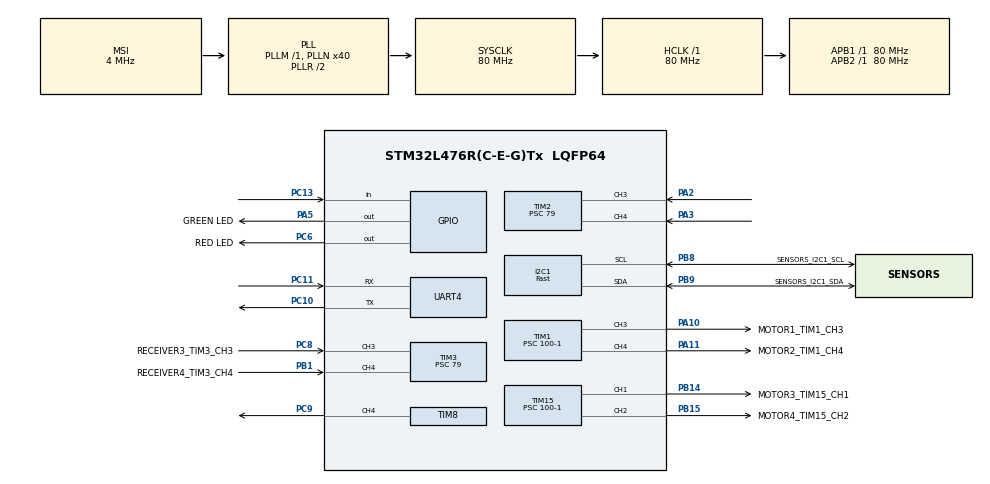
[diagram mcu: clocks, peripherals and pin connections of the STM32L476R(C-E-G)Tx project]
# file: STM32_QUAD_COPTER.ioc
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I2C1.I2C_Speed_Mode=I2C_Fast
I2C1.Timing=0x00702991
Mcu.Family=STM32L4
Mcu.Name=STM32L476R(C-E-G)Tx
Mcu.Package=LQFP64
NVIC.PriorityGroup=NVIC_PRIORITYGROUP_4
PA10.GPIO_Label=MOTOR1_TIM1_CH3
PA10.GPIO_Speed=GPIO_SPEED_FREQ_VERY_HIGH
PA10.Signal=S_TIM1_CH3
PA11.GPIO_Label=MOTOR2_TIM1_CH4
PA11.GPIO_Speed=GPIO_SPEED_FREQ_VERY_HIGH
PA11.Signal=S_TIM1_CH4
PA2.GPIO_PuPd=GPIO_PULLDOWN
PA2.GPIO_Speed=GPIO_SPEED_FREQ_VERY_HIGH
PA2.Signal=S_TIM2_CH3
PA3.GPIO_PuPd=GPIO_PULLDOWN
PA3.GPIO_Speed=GPIO_SPEED_FREQ_VERY_HIGH
PA3.Signal=S_TIM2_CH4
PA5.GPIO_Label=GREEN LED
PA5.Signal=GPIO_Output
PB1.GPIO_Label=RECEIVER4_TIM3_CH4
PB1.GPIO_PuPd=GPIO_PULLDOWN
PB1.GPIO_Speed=GPIO_SPEED_FREQ_VERY_HIGH
PB1.Signal=S_TIM3_CH4
PB14.GPIO_Label=MOTOR3_TIM15_CH1
PB14.GPIO_Speed=GPIO_SPEED_FREQ_VERY_HIGH
PB14.Signal=S_TIM15_CH1
PB15.GPIO_Label=MOTOR4_TIM15_CH2
PB15.GPIO_Speed=GPIO_SPEED_FREQ_VERY_HIGH
PB15.Signal=S_TIM15_CH2
PB8.GPIO_Label=SENSORS_I2C1_SCL
PB8.Mode=I2C
PB8.Signal=I2C1_SCL
PB9.GPIO_Label=SENSORS_I2C1_SDA
PB9.Mode=I2C
PB9.Signal=I2C1_SDA
PC10.Mode=Asynchronous
PC10.Signal=UART4_TX
PC11.Mode=Asynchronous
PC11.Signal=UART4_RX
PC13.Signal=GPIO_Input
PC14-OSC32_IN\ (PC14).Mode=LSE-External-Oscillator
PC14-OSC32_IN\ (PC14).Signal=RCC_OSC32_IN
PC15-OSC32_OUT\ (PC15).Mode=LSE-External-Oscillator
PC15-OSC32_OUT\ (PC15).Signal=RCC_OSC32_OUT
PC6.GPIO_Label=RED LED
PC6.Signal=GPIO_Output
PC8.GPIO_Label=RECEIVER3_TIM3_CH3
PC8.GPIO_PuPd=GPIO_PULLDOWN
PC8.GPIO_Speed=GPIO_SPEED_FREQ_VERY_HIGH
PC8.Signal=S_TIM3_CH3
PC9.GPIO_Speed=GPIO_SPEED_FREQ_VERY_HIGH
PC9.Signal=S_TIM8_CH4
ProjectManager.HeapSize=0x200
ProjectManager.StackSize=0x400
ProjectManager.TargetToolchain=STM32CubeIDE
RCC.AHBFreq_Value=80000000
RCC.APB1Freq_Value=80000000
RCC.APB1TimFreq_Value=80000000
RCC.APB2Freq_Value=80000000
RCC.APB2TimFreq_Value=80000000
RCC.CortexFreq_Value=80000000
RCC.HCLKFreq_Value=80000000
RCC.HSE_VALUE=8000000
RCC.HSI_VALUE=16000000
RCC.MSI_VALUE=4000000
RCC.PLLN=40
RCC.SYSCLKFreq_VALUE=80000000
RCC.SYSCLKSource=RCC_SYSCLKSOURCE_PLLCLK
RCC.VCOOutputFreq_Value=160000000
SH.S_TIM15_CH1.0=TIM15_CH1,PWM Generation1 CH1
SH.S_TIM15_CH2.0=TIM15_CH2,PWM Generation2 CH2
SH.S_TIM1_CH3.0=TIM1_CH3,PWM Generation3 CH3
SH.S_TIM1_CH4.0=TIM1_CH4,PWM Generation4 CH4
SH.S_TIM2_CH3.0=TIM2_CH3,Input_Capture3_from_TI3
SH.S_TIM2_CH4.0=TIM2_CH4,Input_Capture4_from_TI4
SH.S_TIM3_CH3.0=TIM3_CH3,Input_Capture3_from_TI3
SH.S_TIM3_CH4.0=TIM3_CH4,Input_Capture4_from_TI4
SH.S_TIM8_CH4.0=TIM8_CH4,PWM Generation4 CH4
TIM1.AutoReloadPreload=TIM_AUTORELOAD_PRELOAD_DISABLE
TIM1.Channel-PWM\ Generation3\ CH3=TIM_CHANNEL_3
TIM1.Channel-PWM\ Generation4\ CH4=TIM_CHANNEL_4
TIM1.Period=2000-1
TIM1.Prescaler=100-1
TIM1.Pulse-PWM\ Generation3\ CH3=1000
TIM1.Pulse-PWM\ Generation4\ CH4=1000
TIM15.AutoReloadPreload=TIM_AUTORELOAD_PRELOAD_DISABLE
TIM15.Channel-PWM\ Generation1\ CH1=TIM_CHANNEL_1
TIM15.Channel-PWM\ Generation2\ CH2=TIM_CHANNEL_2
TIM15.Period=2000-1
TIM15.Prescaler=100-1
TIM15.Pulse-PWM\ Generation1\ CH1=1000
TIM15.Pulse-PWM\ Generation2\ CH2=1000
TIM2.AutoReloadPreload=TIM_AUTORELOAD_PRELOAD_ENABLE
TIM2.Channel-Input_Capture3_from_TI3=TIM_CHANNEL_3
TIM2.Channel-Input_Capture4_from_TI4=TIM_CHANNEL_4
TIM2.ClockDivision=TIM_CLOCKDIVISION_DIV1
TIM2.Period=65535
TIM2.Prescaler=79
TIM3.AutoReloadPreload=TIM_AUTORELOAD_PRELOAD_ENABLE
TIM3.Channel-Input_Capture3_from_TI3=TIM_CHANNEL_3
TIM3.Channel-Input_Capture4_from_TI4=TIM_CHANNEL_4
TIM3.Prescaler=79
TIM8.AutoReloadPreload=TIM_AUTORELOAD_PRELOAD_DISABLE
TIM8.Channel-PWM\ Generation4\ CH4=TIM_CHANNEL_4
TIM8.Period=2000-1
TIM8.Prescaler=100-1
TIM8.Pulse-PWM\ Generation4\ CH4=1000
VP_TIM15_VS_ClockSourceINT.Mode=Internal
VP_TIM1_VS_ClockSourceINT.Mode=Internal
VP_TIM2_VS_ClockSourceINT.Mode=Internal
VP_TIM3_VS_ClockSourceINT.Mode=Internal
board=custom

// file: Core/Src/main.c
/* USER CODE BEGIN Header */
/**
 ******************************************************************************
 * @file           : main.c
 * @brief          : Main program body
 ******************************************************************************
 * @attention
 *
 * <h2><center>&copy; Copyright (c) 2021 STMicroelectronics.
 * All rights reserved.</center></h2>
 *
 * This software component is licensed by ST under BSD 3-Clause license,
 * the "License"; You may not use this file except in compliance with the
 * License. You may obtain a copy of the License at:
 *                        opensource.org/licenses/BSD-3-Clause
 *
 ******************************************************************************
 */
/* USER CODE END Header */
#include "main.h"

/* USER CODE BEGIN Includes */
#include "pid.h"
#include "motors.h"
#include <string.h>
#include "sensors.h"
#include <stdlib.h>
#include <math.h>
/* USER CODE END Includes */

/* USER CODE BEGIN PM */
void reset_variables(void);
void CalculateOutput(float thr);
/* USER CODE END PM */

I2C_HandleTypeDef hi2c1;

TIM_HandleTypeDef htim1;
TIM_HandleTypeDef htim2;
TIM_HandleTypeDef htim3;
TIM_HandleTypeDef htim8;
TIM_HandleTypeDef htim15;

UART_HandleTypeDef huart4;

/* USER CODE BEGIN PV */

RC_Data RadioData = { 0 };
RC_CAL RadioMeasureChannel1 = { 0 };
RC_CAL RadioMeasureChannel2 = { 0 };
RC_CAL RadioMeasureChannel3 = { 0 };
RC_CAL RadioMeasureChannel4 = { 0 };
RC_CAL RadioMeasureChannel5 = { 0 };

Sensor_Data GyroData_RAW = { 0 };
Sensor_Data_Readable GyroData = { 0 };
Sensor_Data_Readable Current_GyroData = { 0 };
Sensor_Data_Readable Acc_Data = { 0 };

Sensor_Data_Readable GyroDataBias = { 0 };
float biasX = 0.0f;
float biasY = 0.0f;
float biasZ = 0.0f;

int bias_count = 0;
uint8_t buff[256];
uint8_t size = 0;
uint32_t old_time;

float pid_roll_output = 0.0;
float pid_pitch_output = 0.0;
float pid_yaw_output = 0.0;

float iErrorRoll = 0.0f;
float rollPreviousInput = 0.0f;

float iErrorPitch = 0.0f;
float pitchPreviousInput = 0.0f;

float iErrorYaw = 0.0f;
float yawPreviousInput = 0.0f;

float rollInput = 0.0f;
float pitchInput = 0.0f;
float yawInput = 0.0f;

float pidRollError = 0.0f;
float pidPitchError = 0.0f;
float pidYawError = 0.0f;

uint16_t motor1 = 0;
uint16_t motor2 = 0;
uint16_t motor3 = 0;
uint16_t motor4 = 0;

uint16_t throttle = 0;
uint16_t pitch = 0;
uint16_t roll = 0;
uint16_t yaw = 0;

PID_Data rollPID = { 0 };
PID_Data pitchPID = { 0 };
PID_Data yawPID = { 0 };

uint32_t arm_counter = 0;
uint8_t armed = 0;
/* USER CODE END PV */

void SystemClock_Config(void);
static void MX_GPIO_Init(void);
static void MX_I2C1_Init(void);
static void MX_TIM1_Init(void);
static void MX_TIM2_Init(void);
static void MX_TIM3_Init(void);
static void MX_TIM15_Init(void);
static void MX_TIM8_Init(void);
static void MX_UART4_Init(void);

/* USER CODE BEGIN 0 */
int button_count = 0;
/* USER CODE END 0 */

int main(void) {

	/* MCU Configuration--------------------------------------------------------*/

	/* Reset of all peripherals, Initializes the Flash interface and the Systick. */
	HAL_Init();

	/* Configure the system clock */
	SystemClock_Config();

	/* Initialize all configured peripherals */
	MX_GPIO_Init();
	MX_I2C1_Init();
	MX_TIM1_Init();
	MX_TIM2_Init();
	MX_TIM3_Init();
	MX_TIM15_Init();
	MX_TIM8_Init();
	MX_UART4_Init();
	/* USER CODE BEGIN 2 */
	//HAL_TIM_IC_Start_IT(&htim3, TIM_CHANNEL_3);
	//HAL_TIM_IC_Start_IT(&htim3, TIM_CHANNEL_4);
	/** Device Identification (Who am I) **/
//#define LSM6DS3_
	//receiver setup
	TIM3->CR1 |= TIM_CR1_CEN;
	TIM3->DIER |= 0x18;
	TIM3->CCER |= 0x1100;

	TIM2->CR1 |= TIM_CR1_CEN;
	TIM2->DIER |= 0x18;
	TIM2->CCER |= 0x1100;

	NVIC_EnableIRQ(TIM3_IRQn);
	NVIC_EnableIRQ(TIM2_IRQn);

	HAL_StatusTypeDef ret = 0;

	// SENSORS SETUP
	//set GYRO fullscale and ODR

	static uint8_t val;
	HAL_Delay(100);
	uint8_t reg = 0x00;

	reg = 0x80;
	ret = HAL_I2C_Mem_Write(&hi2c1, 0xD5, 0x12, 1, &reg, 1, HAL_MAX_DELAY);
	HAL_Delay(100);

	reg = 0x74;
	ret = HAL_I2C_Mem_Write(&hi2c1, 0xD5, 0x11, 1, &reg, 1, HAL_MAX_DELAY);
//
	reg = 0x7C;
	ret = HAL_I2C_Mem_Write(&hi2c1, 0xD5, 0x10, 1, &reg, 1, HAL_MAX_DELAY);

	reg = 0x44;
	ret = HAL_I2C_Mem_Write(&hi2c1, 0xD5, 0x12, 1, &reg, 1, HAL_MAX_DELAY);

	HAL_TIM_PWM_Start(&htim1, TIM_CHANNEL_3);
	HAL_TIM_PWM_Start(&htim1, TIM_CHANNEL_4);
	HAL_TIM_PWM_Start(&htim15, TIM_CHANNEL_1);
	HAL_TIM_PWM_Start(&htim8, TIM_CHANNEL_4);

	//set motor values to 1000 to stop spinning accidentally
	DriveMotors(1000, 1000, 1000, 1000);

	rollPID.pGain = ROLL_P_GAIN;
	rollPID.iGain = ROLL_I_GAIN;
	rollPID.dGain = ROLL_D_GAIN;

	pitchPID.pGain = PITCH_P_GAIN;
	pitchPID.iGain = PITCH_I_GAIN;
	pitchPID.dGain = PITCH_D_GAIN;

	yawPID.pGain = YAW_P_GAIN;
	yawPID.iGain = YAW_I_GAIN;
	yawPID.dGain = YAW_D_GAIN;

	HAL_Delay(2000);
	for (int i = 0; i < 200; i++) {
		ReadGyroScopeData(&hi2c1, &Current_GyroData);
		GyroDataBias.X += Current_GyroData.X;
		GyroDataBias.Y += Current_GyroData.Y;
		GyroDataBias.Z += Current_GyroData.Z;
		HAL_Delay(10);
		HAL_GPIO_TogglePin(RED_LED_GPIO_Port, RED_LED_Pin);

	}

	GyroDataBias.X /= 200.0f;
	GyroDataBias.Y /= 200.0f;
	GyroDataBias.Z /= 200.0f;

	HAL_GPIO_WritePin(GREEN_LED_GPIO_Port, GREEN_LED_Pin, GPIO_PIN_SET);
	/* USER CODE END 2 */
	float roll_copter = 0.0f;
	float pitch_copter = 0.0f;

	/* Infinite loop */
	while (1) {

		/* USER CODE BEGIN 3 */

		if (HAL_GetTick() - old_time >= 4) {

			ReadGyroScopeData(&hi2c1, &Current_GyroData);
			ReadAccelerometerData(&hi2c1, &Acc_Data);

			float roll_acc  = 0.0f;
			float pitch_acc = 0.0f;
			float resultant_acceleration = sqrt(
					(Acc_Data.X * Acc_Data.X) + (Acc_Data.Y * Acc_Data.Y)
							+ (Acc_Data.Z * Acc_Data.Z)); //Calculate the total accelerometer vector.

			if (fabs(Acc_Data.Y) < resultant_acceleration) { //Prevent the asin function to produce a NaN
				pitch_acc = asin((float) Acc_Data.Y / resultant_acceleration)
						* 57.296;          //Calculate the pitch angle.
			}
			if (abs(Acc_Data.X) < resultant_acceleration) { //Prevent the asin function to produce a NaN
				roll_acc = asin((float) Acc_Data.X / resultant_acceleration)
						* -57.296;          //Calculate the roll angle.
			}

			GyroData.X = GyroData.X * 0.7f + (Current_GyroData.X - GyroDataBias.X) * 0.3f;
			GyroData.Y = GyroData.Y * 0.7f + (Current_GyroData.Y - GyroDataBias.Y) * 0.3f;
			GyroData.Z = GyroData.Z * 0.7f + (Current_GyroData.Z - GyroDataBias.Z) * 0.3f;

			pitch_copter += (-1.0*GyroData.X) * 0.004f;
			roll_copter  += (-1.0*GyroData.Y) * 0.004f;

			roll_copter =  0.99f * roll_copter  + 0.01f  * roll_acc;
			pitch_copter = 0.99f * pitch_copter + 0.01f  * pitch_acc;

			float pitch_level_adjust = roll_copter  * 15.0f; //Calculate the pitch angle correction
			float roll_level_adjust =  pitch_copter * 15.0f;

			if (throttle <= 1100 && yaw > 1800 && armed == 0) {
				arm_counter += 1;
			}

			if (arm_counter == 500) {
				arm_counter = 499;
				armed = 1;
				HAL_GPIO_WritePin(GREEN_LED_GPIO_Port, GREEN_LED_Pin,
						GPIO_PIN_RESET);
				HAL_GPIO_WritePin(RED_LED_GPIO_Port, RED_LED_Pin, GPIO_PIN_SET);
				DriveMotors(MOTOR_MIN_SPEED, MOTOR_MIN_SPEED, MOTOR_MIN_SPEED,MOTOR_MIN_SPEED);          //SPIN MOTORS AT LOW SPEED

			}

			if (throttle <= 1100 && yaw <= 1200 && armed == 1) {
				arm_counter -= 1;

			}
			if (armed == 1 && arm_counter == 0) {

				DriveMotors(1000, 1000, 1000, 1000);
				armed = 0;
				HAL_GPIO_WritePin(GREEN_LED_GPIO_Port, GREEN_LED_Pin,
						GPIO_PIN_SET);
				HAL_GPIO_WritePin(RED_LED_GPIO_Port, RED_LED_Pin,
						GPIO_PIN_RESET);
				reset_variables();
			}

			float thr = (float) condition_values(1100, 1800, throttle);

			//calculate roll, pitch and yaw pid outputs

			rollPID.input = GyroData.X;
			pitchPID.input = -1* GyroData.Y;
			yawPID.input = GyroData.Z;

			if(rollPID.input > 500.0f)
			{
				rollPID.input = 500.0f	;
			}
			if(rollPID.input < -500.0f)
			{
				rollPID.input = -500.0f	;
			}
			if(pitchPID.input > 500.0f)
			{
				pitchPID.input = 500.0f	;
			}
			if(pitchPID.input < -500.0f)
			{
				pitchPID.input = -500.0f	;
			}
			if(yawPID.input > 500.0f)
			{
				yawPID.input = 500.0f	;
			}
			if(yawPID.input < -500.0f)
			{
				yawPID.input = -500.0f	;
			}

//
//			size = sprintf(buff, "\r\n%f, %f, %f", rollPID.input,pitchPID.input,yawPID.input );
//
//			HAL_UART_Transmit(&huart4, buff, size, 1000);

			uint16_t roll_in = roll;
			uint16_t pitch_in = pitch;
			uint16_t yaw_in  = yaw;

#ifdef ROLL_REVERSE
			 roll_in = map(roll, 1000, 2000, 2000, 1000);
#endif

#ifdef PITCH_REVERSE
			 pitch_in = map(pitch, 1000, 2000, 2000, 1000);
#endif

#ifdef YAW_REVERSE
			 yaw_in = map(yaw, 1000, 2000, 2000, 1000);
#endif

			rollPID.setPoint = 0.0f;
			pitchPID.setPoint = 0.0f;
			yawPID.setPoint = 0.0f;

			if (roll_in > 1508) {
				rollPID.setPoint = roll_in - 1508;

			} else if (roll_in < 1492) {
				rollPID.setPoint = roll_in - 1492;

			}

			if (pitch_in > 1508) {
				pitchPID.setPoint = pitch_in - 1508;

			} else if (pitch_in < 1492) {
				pitchPID.setPoint = pitch_in - 1492;
			}

			if (yaw_in > 1508) {
				yawPID.setPoint = yaw_in - 1508;

			} else if (yaw_in < 1492) {
				yawPID.setPoint = yaw_in - 1492;
			}

				rollPID.setPoint += roll_level_adjust;
			rollPID.setPoint = rollPID.setPoint / 3.0f;

				pitchPID.setPoint -= pitch_level_adjust;
			pitchPID.setPoint = pitchPID.setPoint / 3.0f;

			if (throttle > 1200) {
				yawPID.setPoint = yawPID.setPoint / 5.0f;
			}
			else
			{
				yawPID.setPoint  = 0.0f;
			}

//			size = sprintf(buff, "\r\n%f, %f, %f", rollPID.output,pitchPID.output,yawPID.output );
//
//			HAL_UART_Transmit(&huart4, buff, size, 1000);
			if (armed) {
				calculate_pid_output(&rollPID);
				calculate_pid_output(&pitchPID);
				calculate_pid_output(&yawPID);

				//calculate motor speed and drive motors
				CalculateOutput(thr);
			}
			old_time = HAL_GetTick();
		}
	}
	/* USER CODE END 3 */
}

void SystemClock_Config(void) {
	RCC_OscInitTypeDef RCC_OscInitStruct = { 0 };
	RCC_ClkInitTypeDef RCC_ClkInitStruct = { 0 };

	/** Configure the main internal regulator output voltage
	 */
	if (HAL_PWREx_ControlVoltageScaling(PWR_REGULATOR_VOLTAGE_SCALE1)
			!= HAL_OK) {
		Error_Handler();
	}
	/** Configure LSE Drive Capability
	 */
	HAL_PWR_EnableBkUpAccess();
	__HAL_RCC_LSEDRIVE_CONFIG(RCC_LSEDRIVE_LOW);
	/** Initializes the RCC Oscillators according to the specified parameters
	 * in the RCC_OscInitTypeDef structure.
	 */
	RCC_OscInitStruct.OscillatorType = RCC_OSCILLATORTYPE_LSE
			| RCC_OSCILLATORTYPE_MSI;
	RCC_OscInitStruct.LSEState = RCC_LSE_ON;
	RCC_OscInitStruct.MSIState = RCC_MSI_ON;
	RCC_OscInitStruct.MSICalibrationValue = 0;
	RCC_OscInitStruct.MSIClockRange = RCC_MSIRANGE_6;
	RCC_OscInitStruct.PLL.PLLState = RCC_PLL_ON;
	RCC_OscInitStruct.PLL.PLLSource = RCC_PLLSOURCE_MSI;
	RCC_OscInitStruct.PLL.PLLM = 1;
	RCC_OscInitStruct.PLL.PLLN = 40;
	RCC_OscInitStruct.PLL.PLLP = RCC_PLLP_DIV7;
	RCC_OscInitStruct.PLL.PLLQ = RCC_PLLQ_DIV2;
	RCC_OscInitStruct.PLL.PLLR = RCC_PLLR_DIV2;
	if (HAL_RCC_OscConfig(&RCC_OscInitStruct) != HAL_OK) {
		Error_Handler();
	}
	/** Initializes the CPU, AHB and APB buses clocks
	 */
	RCC_ClkInitStruct.ClockType = RCC_CLOCKTYPE_HCLK | RCC_CLOCKTYPE_SYSCLK
			| RCC_CLOCKTYPE_PCLK1 | RCC_CLOCKTYPE_PCLK2;
	RCC_ClkInitStruct.SYSCLKSource = RCC_SYSCLKSOURCE_PLLCLK;
	RCC_ClkInitStruct.AHBCLKDivider = RCC_SYSCLK_DIV1;
	RCC_ClkInitStruct.APB1CLKDivider = RCC_HCLK_DIV1;
	RCC_ClkInitStruct.APB2CLKDivider = RCC_HCLK_DIV1;

	if (HAL_RCC_ClockConfig(&RCC_ClkInitStruct, FLASH_LATENCY_4) != HAL_OK) {
		Error_Handler();
	}
	/** Enable MSI Auto calibration
	 */
	HAL_RCCEx_EnableMSIPLLMode();
}

static void MX_I2C1_Init(void) {

	hi2c1.Instance = I2C1;
	hi2c1.Init.Timing = 0x00702991;
	hi2c1.Init.OwnAddress1 = 0;
	hi2c1.Init.AddressingMode = I2C_ADDRESSINGMODE_7BIT;
	hi2c1.Init.DualAddressMode = I2C_DUALADDRESS_DISABLE;
	hi2c1.Init.OwnAddress2 = 0;
	hi2c1.Init.OwnAddress2Masks = I2C_OA2_NOMASK;
	hi2c1.Init.GeneralCallMode = I2C_GENERALCALL_DISABLE;
	hi2c1.Init.NoStretchMode = I2C_NOSTRETCH_DISABLE;
	if (HAL_I2C_Init(&hi2c1) != HAL_OK) {
		Error_Handler();
	}
	/** Configure Analogue filter
	 */
	if (HAL_I2CEx_ConfigAnalogFilter(&hi2c1, I2C_ANALOGFILTER_ENABLE)
			!= HAL_OK) {
		Error_Handler();
	}
	/** Configure Digital filter
	 */
	if (HAL_I2CEx_ConfigDigitalFilter(&hi2c1, 0) != HAL_OK) {
		Error_Handler();
	}

}

static void MX_TIM1_Init(void) {

	TIM_ClockConfigTypeDef sClockSourceConfig = { 0 };
	TIM_MasterConfigTypeDef sMasterConfig = { 0 };
	TIM_OC_InitTypeDef sConfigOC = { 0 };
	TIM_BreakDeadTimeConfigTypeDef sBreakDeadTimeConfig = { 0 };

	htim1.Instance = TIM1;
	htim1.Init.Prescaler = 100 - 1;
	htim1.Init.CounterMode = TIM_COUNTERMODE_UP;
	htim1.Init.Period = 2000 - 1;
	htim1.Init.ClockDivision = TIM_CLOCKDIVISION_DIV1;
	htim1.Init.RepetitionCounter = 0;
	htim1.Init.AutoReloadPreload = TIM_AUTORELOAD_PRELOAD_DISABLE;
	if (HAL_TIM_Base_Init(&htim1) != HAL_OK) {
		Error_Handler();
	}
	sClockSourceConfig.ClockSource = TIM_CLOCKSOURCE_INTERNAL;
	if (HAL_TIM_ConfigClockSource(&htim1, &sClockSourceConfig) != HAL_OK) {
		Error_Handler();
	}
	if (HAL_TIM_PWM_Init(&htim1) != HAL_OK) {
		Error_Handler();
	}
	sMasterConfig.MasterOutputTrigger = TIM_TRGO_RESET;
	sMasterConfig.MasterOutputTrigger2 = TIM_TRGO2_RESET;
	sMasterConfig.MasterSlaveMode = TIM_MASTERSLAVEMODE_DISABLE;
	if (HAL_TIMEx_MasterConfigSynchronization(&htim1, &sMasterConfig)
			!= HAL_OK) {
		Error_Handler();
	}
	sConfigOC.OCMode = TIM_OCMODE_PWM1;
	sConfigOC.Pulse = 1000;
	sConfigOC.OCPolarity = TIM_OCPOLARITY_HIGH;
	sConfigOC.OCNPolarity = TIM_OCNPOLARITY_HIGH;
	sConfigOC.OCFastMode = TIM_OCFAST_DISABLE;
	sConfigOC.OCIdleState = TIM_OCIDLESTATE_RESET;
	sConfigOC.OCNIdleState = TIM_OCNIDLESTATE_RESET;
	if (HAL_TIM_PWM_ConfigChannel(&htim1, &sConfigOC, TIM_CHANNEL_3)
			!= HAL_OK) {
		Error_Handler();
	}
	if (HAL_TIM_PWM_ConfigChannel(&htim1, &sConfigOC, TIM_CHANNEL_4)
			!= HAL_OK) {
		Error_Handler();
	}
	sBreakDeadTimeConfig.OffStateRunMode = TIM_OSSR_DISABLE;
	sBreakDeadTimeConfig.OffStateIDLEMode = TIM_OSSI_DISABLE;
	sBreakDeadTimeConfig.LockLevel = TIM_LOCKLEVEL_OFF;
	sBreakDeadTimeConfig.DeadTime = 0;
	sBreakDeadTimeConfig.BreakState = TIM_BREAK_DISABLE;
	sBreakDeadTimeConfig.BreakPolarity = TIM_BREAKPOLARITY_HIGH;
	sBreakDeadTimeConfig.BreakFilter = 0;
	sBreakDeadTimeConfig.Break2State = TIM_BREAK2_DISABLE;
	sBreakDeadTimeConfig.Break2Polarity = TIM_BREAK2POLARITY_HIGH;
	sBreakDeadTimeConfig.Break2Filter = 0;
	sBreakDeadTimeConfig.AutomaticOutput = TIM_AUTOMATICOUTPUT_DISABLE;
	if (HAL_TIMEx_ConfigBreakDeadTime(&htim1, &sBreakDeadTimeConfig)
			!= HAL_OK) {
		Error_Handler();
	}
	HAL_TIM_MspPostInit(&htim1);

}

static void MX_TIM2_Init(void) {

	TIM_ClockConfigTypeDef sClockSourceConfig = { 0 };
	TIM_MasterConfigTypeDef sMasterConfig = { 0 };
	TIM_IC_InitTypeDef sConfigIC = { 0 };

	htim2.Instance = TIM2;
	htim2.Init.Prescaler = 79;
	htim2.Init.CounterMode = TIM_COUNTERMODE_UP;
	htim2.Init.Period = 65535;
	htim2.Init.ClockDivision = TIM_CLOCKDIVISION_DIV1;
	htim2.Init.AutoReloadPreload = TIM_AUTORELOAD_PRELOAD_ENABLE;
	if (HAL_TIM_Base_Init(&htim2) != HAL_OK) {
		Error_Handler();
	}
	sClockSourceConfig.ClockSource = TIM_CLOCKSOURCE_INTERNAL;
	if (HAL_TIM_ConfigClockSource(&htim2, &sClockSourceConfig) != HAL_OK) {
		Error_Handler();
	}
	if (HAL_TIM_IC_Init(&htim2) != HAL_OK) {
		Error_Handler();
	}
	sMasterConfig.MasterOutputTrigger = TIM_TRGO_RESET;
	sMasterConfig.MasterSlaveMode = TIM_MASTERSLAVEMODE_DISABLE;
	if (HAL_TIMEx_MasterConfigSynchronization(&htim2, &sMasterConfig)
			!= HAL_OK) {
		Error_Handler();
	}
	sConfigIC.ICPolarity = TIM_INPUTCHANNELPOLARITY_RISING;
	sConfigIC.ICSelection = TIM_ICSELECTION_DIRECTTI;
	sConfigIC.ICPrescaler = TIM_ICPSC_DIV1;
	sConfigIC.ICFilter = 0;
	if (HAL_TIM_IC_ConfigChannel(&htim2, &sConfigIC, TIM_CHANNEL_3) != HAL_OK) {
		Error_Handler();
	}
	if (HAL_TIM_IC_ConfigChannel(&htim2, &sConfigIC, TIM_CHANNEL_4) != HAL_OK) {
		Error_Handler();
	}

}

static void MX_TIM3_Init(void) {

	/* USER CODE BEGIN TIM3_Init 0 */
	__HAL_RCC_TIM3_CLK_ENABLE();
	/* USER CODE END TIM3_Init 0 */

	TIM_ClockConfigTypeDef sClockSourceConfig = { 0 };
	TIM_MasterConfigTypeDef sMasterConfig = { 0 };
	TIM_IC_InitTypeDef sConfigIC = { 0 };

	htim3.Instance = TIM3;
	htim3.Init.Prescaler = 79;
	htim3.Init.CounterMode = TIM_COUNTERMODE_UP;
	htim3.Init.Period = 65535;
	htim3.Init.ClockDivision = TIM_CLOCKDIVISION_DIV1;
	htim3.Init.AutoReloadPreload = TIM_AUTORELOAD_PRELOAD_ENABLE;
	if (HAL_TIM_Base_Init(&htim3) != HAL_OK) {
		Error_Handler();
	}
	sClockSourceConfig.ClockSource = TIM_CLOCKSOURCE_INTERNAL;
	if (HAL_TIM_ConfigClockSource(&htim3, &sClockSourceConfig) != HAL_OK) {
		Error_Handler();
	}
	if (HAL_TIM_IC_Init(&htim3) != HAL_OK) {
		Error_Handler();
	}
	sMasterConfig.MasterOutputTrigger = TIM_TRGO_RESET;
	sMasterConfig.MasterSlaveMode = TIM_MASTERSLAVEMODE_DISABLE;
	if (HAL_TIMEx_MasterConfigSynchronization(&htim3, &sMasterConfig)
			!= HAL_OK) {
		Error_Handler();
	}
	sConfigIC.ICPolarity = TIM_INPUTCHANNELPOLARITY_RISING;
	sConfigIC.ICSelection = TIM_ICSELECTION_DIRECTTI;
	sConfigIC.ICPrescaler = TIM_ICPSC_DIV1;
	sConfigIC.ICFilter = 0;
	if (HAL_TIM_IC_ConfigChannel(&htim3, &sConfigIC, TIM_CHANNEL_3) != HAL_OK) {
		Error_Handler();
	}
	if (HAL_TIM_IC_ConfigChannel(&htim3, &sConfigIC, TIM_CHANNEL_4) != HAL_OK) {
		Error_Handler();
	}

}

static void MX_TIM8_Init(void) {

	TIM_MasterConfigTypeDef sMasterConfig = { 0 };
	TIM_OC_InitTypeDef sConfigOC = { 0 };
	TIM_BreakDeadTimeConfigTypeDef sBreakDeadTimeConfig = { 0 };

	htim8.Instance = TIM8;
	htim8.Init.Prescaler = 100 - 1;
	htim8.Init.CounterMode = TIM_COUNTERMODE_UP;
	htim8.Init.Period = 2000 - 1;
	htim8.Init.ClockDivision = TIM_CLOCKDIVISION_DIV1;
	htim8.Init.RepetitionCounter = 0;
	htim8.Init.AutoReloadPreload = TIM_AUTORELOAD_PRELOAD_DISABLE;
	if (HAL_TIM_PWM_Init(&htim8) != HAL_OK) {
		Error_Handler();
	}
	sMasterConfig.MasterOutputTrigger = TIM_TRGO_RESET;
	sMasterConfig.MasterOutputTrigger2 = TIM_TRGO2_RESET;
	sMasterConfig.MasterSlaveMode = TIM_MASTERSLAVEMODE_DISABLE;
	if (HAL_TIMEx_MasterConfigSynchronization(&htim8, &sMasterConfig)
			!= HAL_OK) {
		Error_Handler();
	}
	sConfigOC.OCMode = TIM_OCMODE_PWM1;
	sConfigOC.Pulse = 1000;
	sConfigOC.OCPolarity = TIM_OCPOLARITY_HIGH;
	sConfigOC.OCFastMode = TIM_OCFAST_DISABLE;
	sConfigOC.OCIdleState = TIM_OCIDLESTATE_RESET;
	sConfigOC.OCNIdleState = TIM_OCNIDLESTATE_RESET;
	if (HAL_TIM_PWM_ConfigChannel(&htim8, &sConfigOC, TIM_CHANNEL_4)
			!= HAL_OK) {
		Error_Handler();
	}
	sBreakDeadTimeConfig.OffStateRunMode = TIM_OSSR_DISABLE;
	sBreakDeadTimeConfig.OffStateIDLEMode = TIM_OSSI_DISABLE;
	sBreakDeadTimeConfig.LockLevel = TIM_LOCKLEVEL_OFF;
	sBreakDeadTimeConfig.DeadTime = 0;
	sBreakDeadTimeConfig.BreakState = TIM_BREAK_DISABLE;
	sBreakDeadTimeConfig.BreakPolarity = TIM_BREAKPOLARITY_HIGH;
	sBreakDeadTimeConfig.BreakFilter = 0;
	sBreakDeadTimeConfig.Break2State = TIM_BREAK2_DISABLE;
	sBreakDeadTimeConfig.Break2Polarity = TIM_BREAK2POLARITY_HIGH;
	sBreakDeadTimeConfig.Break2Filter = 0;
	sBreakDeadTimeConfig.AutomaticOutput = TIM_AUTOMATICOUTPUT_DISABLE;
	if (HAL_TIMEx_ConfigBreakDeadTime(&htim8, &sBreakDeadTimeConfig)
			!= HAL_OK) {
		Error_Handler();
	}
	HAL_TIM_MspPostInit(&htim8);

}

static void MX_TIM15_Init(void) {

	TIM_ClockConfigTypeDef sClockSourceConfig = { 0 };
	TIM_MasterConfigTypeDef sMasterConfig = { 0 };
	TIM_OC_InitTypeDef sConfigOC = { 0 };
	TIM_BreakDeadTimeConfigTypeDef sBreakDeadTimeConfig = { 0 };

	htim15.Instance = TIM15;
	htim15.Init.Prescaler = 100 - 1;
	htim15.Init.CounterMode = TIM_COUNTERMODE_UP;
	htim15.Init.Period = 2000 - 1;
	htim15.Init.ClockDivision = TIM_CLOCKDIVISION_DIV1;
	htim15.Init.RepetitionCounter = 0;
	htim15.Init.AutoReloadPreload = TIM_AUTORELOAD_PRELOAD_DISABLE;
	if (HAL_TIM_Base_Init(&htim15) != HAL_OK) {
		Error_Handler();
	}
	sClockSourceConfig.ClockSource = TIM_CLOCKSOURCE_INTERNAL;
	if (HAL_TIM_ConfigClockSource(&htim15, &sClockSourceConfig) != HAL_OK) {
		Error_Handler();
	}
	if (HAL_TIM_PWM_Init(&htim15) != HAL_OK) {
		Error_Handler();
	}
	sMasterConfig.MasterOutputTrigger = TIM_TRGO_RESET;
	sMasterConfig.MasterSlaveMode = TIM_MASTERSLAVEMODE_DISABLE;
	if (HAL_TIMEx_MasterConfigSynchronization(&htim15, &sMasterConfig)
			!= HAL_OK) {
		Error_Handler();
	}
	sConfigOC.OCMode = TIM_OCMODE_PWM1;
	sConfigOC.Pulse = 1000;
	sConfigOC.OCPolarity = TIM_OCPOLARITY_HIGH;
	sConfigOC.OCNPolarity = TIM_OCNPOLARITY_HIGH;
	sConfigOC.OCFastMode = TIM_OCFAST_DISABLE;
	sConfigOC.OCIdleState = TIM_OCIDLESTATE_RESET;
	sConfigOC.OCNIdleState = TIM_OCNIDLESTATE_RESET;
	if (HAL_TIM_PWM_ConfigChannel(&htim15, &sConfigOC, TIM_CHANNEL_1)
			!= HAL_OK) {
		Error_Handler();
	}
	if (HAL_TIM_PWM_ConfigChannel(&htim15, &sConfigOC, TIM_CHANNEL_2)
			!= HAL_OK) {
		Error_Handler();
	}
	sBreakDeadTimeConfig.OffStateRunMode = TIM_OSSR_DISABLE;
	sBreakDeadTimeConfig.OffStateIDLEMode = TIM_OSSI_DISABLE;
	sBreakDeadTimeConfig.LockLevel = TIM_LOCKLEVEL_OFF;
	sBreakDeadTimeConfig.DeadTime = 0;
	sBreakDeadTimeConfig.BreakState = TIM_BREAK_DISABLE;
	sBreakDeadTimeConfig.BreakPolarity = TIM_BREAKPOLARITY_HIGH;
	sBreakDeadTimeConfig.AutomaticOutput = TIM_AUTOMATICOUTPUT_DISABLE;
	if (HAL_TIMEx_ConfigBreakDeadTime(&htim15, &sBreakDeadTimeConfig)
			!= HAL_OK) {
		Error_Handler();
	}
	HAL_TIM_MspPostInit(&htim15);

}

static void MX_UART4_Init(void) {

	huart4.Instance = UART4;
	huart4.Init.BaudRate = 115200;
	huart4.Init.WordLength = UART_WORDLENGTH_8B;
	huart4.Init.StopBits = UART_STOPBITS_1;
	huart4.Init.Parity = UART_PARITY_NONE;
	huart4.Init.Mode = UART_MODE_TX_RX;
	huart4.Init.HwFlowCtl = UART_HWCONTROL_NONE;
	huart4.Init.OverSampling = UART_OVERSAMPLING_16;
	huart4.Init.OneBitSampling = UART_ONE_BIT_SAMPLE_DISABLE;
	huart4.AdvancedInit.AdvFeatureInit = UART_ADVFEATURE_NO_INIT;
	if (HAL_UART_Init(&huart4) != HAL_OK) {
		Error_Handler();
	}

}

static void MX_GPIO_Init(void) {
	GPIO_InitTypeDef GPIO_InitStruct = { 0 };

	/* GPIO Ports Clock Enable */
	__HAL_RCC_GPIOC_CLK_ENABLE();
	__HAL_RCC_GPIOA_CLK_ENABLE();
	__HAL_RCC_GPIOB_CLK_ENABLE();

	/*Configure GPIO pin Output Level */
	HAL_GPIO_WritePin(GREEN_LED_GPIO_Port, GREEN_LED_Pin, GPIO_PIN_RESET);

	/*Configure GPIO pin Output Level */
	HAL_GPIO_WritePin(RED_LED_GPIO_Port, RED_LED_Pin, GPIO_PIN_RESET);

	/*Configure GPIO pin : PC13 */
	GPIO_InitStruct.Pin = GPIO_PIN_13;
	GPIO_InitStruct.Mode = GPIO_MODE_INPUT;
	GPIO_InitStruct.Pull = GPIO_NOPULL;
	HAL_GPIO_Init(GPIOC, &GPIO_InitStruct);

	/*Configure GPIO pin : GREEN_LED_Pin */
	GPIO_InitStruct.Pin = GREEN_LED_Pin;
	GPIO_InitStruct.Mode = GPIO_MODE_OUTPUT_PP;
	GPIO_InitStruct.Pull = GPIO_NOPULL;
	GPIO_InitStruct.Speed = GPIO_SPEED_FREQ_LOW;
	HAL_GPIO_Init(GREEN_LED_GPIO_Port, &GPIO_InitStruct);

	/*Configure GPIO pin : RED_LED_Pin */
	GPIO_InitStruct.Pin = RED_LED_Pin;
	GPIO_InitStruct.Mode = GPIO_MODE_OUTPUT_PP;
	GPIO_InitStruct.Pull = GPIO_NOPULL;
	GPIO_InitStruct.Speed = GPIO_SPEED_FREQ_LOW;
	HAL_GPIO_Init(RED_LED_GPIO_Port, &GPIO_InitStruct);

}

/* USER CODE BEGIN 4 */

void LED_ON(uint8_t LED) {
	if (LED == 1) {
		HAL_GPIO_WritePin(RED_LED_GPIO_Port, RED_LED_Pin, 1);
	}
	if (LED == 2) {
		HAL_GPIO_WritePin(GREEN_LED_GPIO_Port, GREEN_LED_Pin, 1);
	}
}
void LED_OFF(uint8_t LED) {
	if (LED == 1) {
		HAL_GPIO_WritePin(RED_LED_GPIO_Port, RED_LED_Pin, 0);
	}
	if (LED == 2) {
		HAL_GPIO_WritePin(GREEN_LED_GPIO_Port, GREEN_LED_Pin, 0);
	}
}

void TIM2_IRQHandler(void) {
	if (TIM2->SR & TIM_SR_CC3IF) {
		if (RadioMeasureChannel3.edge == 0) {
			RadioMeasureChannel3.ticks = TIM2->CCR3;
			RadioMeasureChannel3.edge = 1;
			TIM2->CCER |= TIM_CCER_CC3P;
		} else if (RadioMeasureChannel3.edge == 1) {
			uint32_t gu32_Ticks = (TIM2->CCR3 - RadioMeasureChannel3.ticks);
			if (gu32_Ticks < 0) {
				gu32_Ticks += 0xFFFF;
			}
			RadioData.channel3 = gu32_Ticks;
			throttle = condition_values(1000, 2000, RadioData.channel3);
			RadioMeasureChannel3.edge = 0;
			TIM2->CCER &= ~TIM_CCER_CC3P;
		}

		TIM2->SR &= ~TIM_SR_CC3IF;
	} else if (TIM2->SR & TIM_SR_CC4IF) {
		if (RadioMeasureChannel4.edge == 0) {
			RadioMeasureChannel4.ticks = TIM2->CCR4;
			RadioMeasureChannel4.edge = 1;
			TIM2->CCER |= TIM_CCER_CC4P;
		} else if (RadioMeasureChannel4.edge == 1) {
			uint32_t gu32_Ticks = (TIM2->CCR4 - RadioMeasureChannel4.ticks);
			if (gu32_Ticks < 0) {
				gu32_Ticks += 0xFFFF;
			}
			RadioData.channel4 = gu32_Ticks;
			yaw = condition_values(1000, 2000, RadioData.channel4);
			RadioMeasureChannel4.edge = 0;
			TIM2->CCER &= ~TIM_CCER_CC4P;
		}
		TIM2->SR &= ~TIM_SR_CC4IF;
	}
}
void TIM3_IRQHandler(void) {
	if (TIM3->SR & TIM_SR_CC3IF) {
		if (RadioMeasureChannel1.edge == 0) {
			RadioMeasureChannel1.ticks = TIM3->CCR3;
			RadioMeasureChannel1.edge = 1;
			TIM3->CCER |= TIM_CCER_CC3P;
		} else if (RadioMeasureChannel1.edge == 1) {
			uint32_t gu32_Ticks = (TIM3->CCR3 - RadioMeasureChannel1.ticks);
			if (gu32_Ticks < 0) {
				gu32_Ticks += 0xFFFF;
			}
			RadioData.channel1 = gu32_Ticks;
			roll = condition_values(1000, 2000, RadioData.channel1);
			RadioMeasureChannel1.edge = 0;
			TIM3->CCER &= ~TIM_CCER_CC3P;
		}

		TIM3->SR &= ~TIM_SR_CC3IF;
	} else if (TIM3->SR & TIM_SR_CC4IF) {
		if (RadioMeasureChannel2.edge == 0) {
			RadioMeasureChannel2.ticks = TIM3->CCR4;
			RadioMeasureChannel2.edge = 1;
			TIM3->CCER |= TIM_CCER_CC4P;
		} else if (RadioMeasureChannel2.edge == 1) {
			uint32_t gu32_Ticks = (TIM3->CCR4 - RadioMeasureChannel2.ticks);
			if (gu32_Ticks < 0) {
				gu32_Ticks += 0xFFFF;
			}
			RadioData.channel2 = gu32_Ticks;
			pitch = condition_values(1000, 2000, RadioData.channel2);
			RadioMeasureChannel2.edge = 0;
			TIM3->CCER &= ~TIM_CCER_CC4P;
		}
		TIM3->SR &= ~TIM_SR_CC4IF;
	}
}

float map(float x, float in_min, float in_max, float out_min, float out_max) {
	return (float) ((x - in_min) * (out_max - out_min) / (in_max - in_min)
			+ out_min);
}
/*map function*/

/*reset variables*/

void reset_variables(void) {
	memset(&rollPID, 0x00, sizeof(rollPID));
	memset(&pitchPID, 0x00, sizeof(pitchPID));
	memset(&yawPID, 0x00, sizeof(yawPID));

}

uint32_t condition_values(uint32_t lowerLimit, uint32_t upperLimit,
		uint32_t value) {

	if (value < lowerLimit) {
		value = lowerLimit;
	} else if (value > upperLimit) {
		value = upperLimit;
	}
	return value;
}

void CalculateOutput(float thr)
{

	motor1 = (uint16_t) (thr + pitchPID.output - rollPID.output - yawPID.output);
	motor2 = (uint16_t) (thr - pitchPID.output - rollPID.output + yawPID.output);
	motor3 = (uint16_t) (thr - pitchPID.output + rollPID.output - yawPID.output);
	motor4 = (uint16_t) (thr + pitchPID.output + rollPID.output + yawPID.output);

	//condition_motor_speed_values

	motor1 = condition_values(MOTOR_MIN_SPEED, MOTOR_MAX_SPEED,
			motor1);
	motor2 = condition_values(MOTOR_MIN_SPEED, MOTOR_MAX_SPEED,
			motor2);
	motor3 = condition_values(MOTOR_MIN_SPEED, MOTOR_MAX_SPEED,
			motor3);
	motor4 = condition_values(MOTOR_MIN_SPEED, MOTOR_MAX_SPEED,
			motor4);

	DriveMotors(motor1,motor2,motor3,motor4);
}

//	    HAL_UART_Receive(&huart4, buff, 7, 1000);
//
//	    if(buff[5]  == '\r' || buff[5] == '\n' )
//	    {
//
//
//			if (buff[0] == 'a' && buff[1] == 'p') {
//
//				char in_char[3];
//				memcpy(in_char,&buff[2],3);
//
//				rollPID.pGain = atof(in_char);
//				pitchPID.pGain = atof(in_char);
//
//			} else if (buff[0] == 'a' && buff[1] == 'i') {
//				char in_char[3];
//				memcpy(in_char,&buff[2],3);
//
//				rollPID.iGain = atof(in_char);
//				pitchPID.iGain = atof(in_char);
//			} else if (buff[0] == 'a' && buff[1] == 'd') {
//				char in_char[3];
//				memcpy(in_char,&buff[2],3);
//
//				rollPID.dGain = atof(in_char);
//				pitchPID.dGain = atof(in_char);
//			}
//			if (buff[0] == 'y' && buff[1] == 'p') {
//				char in_char[3];
//				memcpy(in_char,&buff[2],3);
//
//				yawPID.pGain = atof(in_char);;
//			} else if (buff[0] == 'y' && buff[1] == 'i') {
//				char in_char[3];
//				memcpy(in_char,&buff[2],3);
//				yawPID.iGain = atof(in_char);
//			}
//
//			memset(buff,0x00,sizeof(buff));
//
//	    }

/* USER CODE END 4 */

void Error_Handler(void) {
	__disable_irq();
	while (1) {
	}
}

/************************ (C) COPYRIGHT STMicroelectronics *****END OF FILE****/
